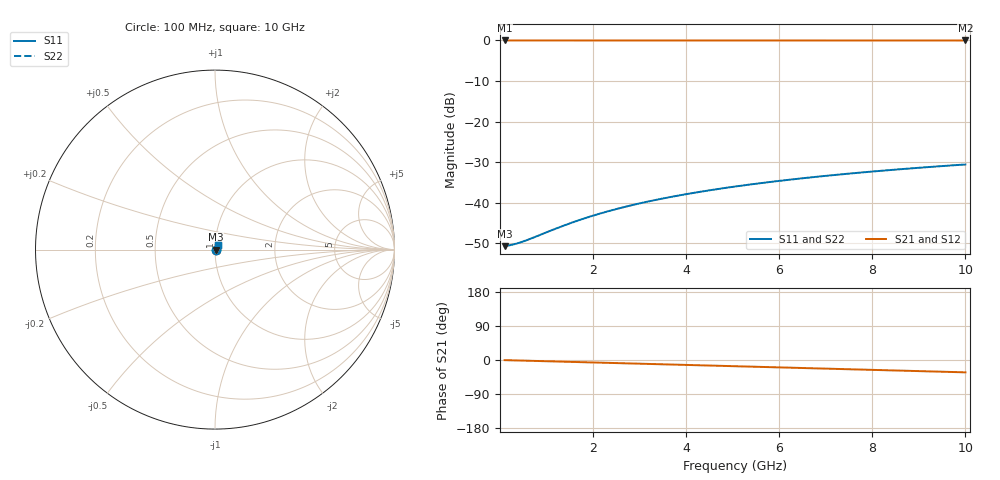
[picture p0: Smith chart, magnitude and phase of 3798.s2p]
# Hz S RI R 50.00
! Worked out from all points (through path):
!   100 points, 100 MHz to 10 GHz, reference 50 ohm
!   highest |S21| = -0.03 dB at 100 MHz (marker M1); lowest = 0.0 dB at 10 GHz (marker M2)
!   group delay of S21, straight-line fit = 9.05 ps
!   lowest |S11| = -50.7 dB at 100 MHz (marker M3), VSWR 1.01, Z = 50.3 + j0.03 ohm
!   |S11| at or under -10 dB: start of sweep to end of sweep
!   |S22| runs from -50.7 to -30.6 dB; largest |S21 - S12| = 0
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1e8  0.00291 0.000298  0.9971 -0.00565  0.9971 -0.00565  0.00291 0.000298
2e8  0.00293 0.000596  0.997 -0.0113  0.997 -0.0113  0.00293 0.000596
3e8  0.00295 0.000894  0.9969 -0.0169  0.9969 -0.0169  0.00295 0.000894
5e8  0.003 0.00149  0.9966 -0.0282  0.9966 -0.0282  0.003 0.00149
7e8  0.00305 0.00208  0.9962 -0.0395  0.9962 -0.0395  0.00305 0.00208
1.3e9  0.00328 0.00385  0.9942 -0.0733  0.9942 -0.0733  0.00328 0.00385
1.6e9  0.00343 0.00473  0.9928 -0.0902  0.9928 -0.0902  0.00343 0.00473
1.8e9  0.00356 0.00531  0.9917 -0.1015  0.9917 -0.1015  0.00356 0.00531
2.2e9  0.00383 0.00646  0.9891 -0.1239  0.9891 -0.1239  0.00383 0.00646
2.6e9  0.00416 0.0076  0.986 -0.1463  0.986 -0.1463  0.00416 0.0076
3e9  0.00455 0.00872  0.9824 -0.1686  0.9824 -0.1686  0.00455 0.00872
3.4e9  0.00498 0.00982  0.9783 -0.1909  0.9783 -0.1909  0.00498 0.00982
3.8e9  0.00546 0.0109  0.9737 -0.213  0.9737 -0.213  0.00546 0.0109
4.2e9  0.00599 0.0119  0.9685 -0.2351  0.9685 -0.2351  0.00599 0.0119
4.6e9  0.00657 0.013  0.9629 -0.257  0.9629 -0.257  0.00657 0.013
5.1e9  0.00735 0.0142  0.9552 -0.2843  0.9552 -0.2843  0.00735 0.0142
5.9e9  0.00876 0.0161  0.9412 -0.3274  0.9412 -0.3274  0.00876 0.0161
6.7e9  0.0103 0.0178  0.9252 -0.3699  0.9252 -0.3699  0.0103 0.0178
7.5e9  0.0121 0.0194  0.9073 -0.4117  0.9073 -0.4117  0.0121 0.0194
8.4e9  0.0142 0.021  0.8849 -0.4577  0.8849 -0.4577  0.0142 0.021
9.2e9  0.0162 0.0223  0.8629 -0.4976  0.8629 -0.4976  0.0162 0.0223
1e10  0.0183 0.0233  0.8392 -0.5365  0.8392 -0.5365  0.0183 0.0233
